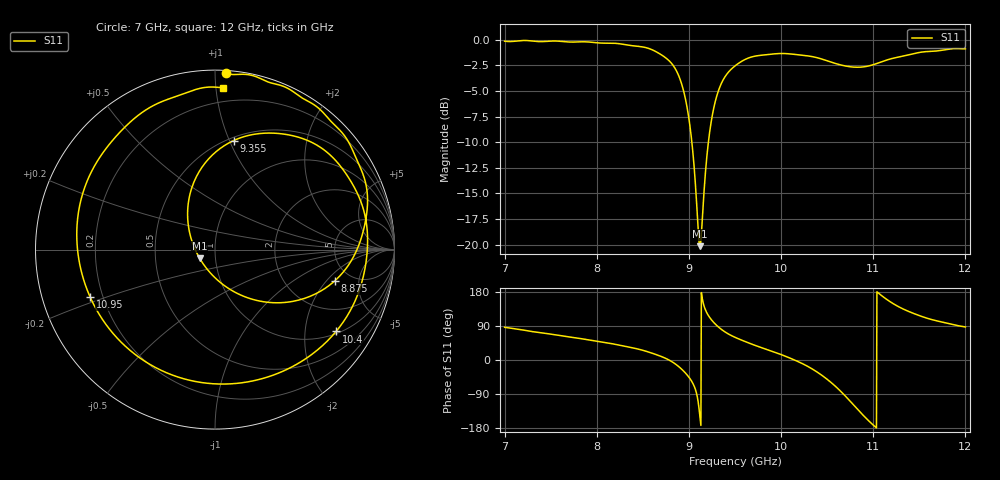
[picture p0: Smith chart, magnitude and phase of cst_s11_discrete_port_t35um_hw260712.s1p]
! TOUCHSTONE file generated by CST MICROWAVE STUDIO
! Date and time: Sun Jul 12 01:46:21 2026
! Project name: rfx-patch_discrete_port.cst
! Parameters = {Airgap=10; L=8.595; RO_L=30.595; RO_W=30.129; W=10.129; d=2.4; feed_w=1.8; g=0.9; h=0.787; patch_t=0.035}
! Header version: 2024
! Port assignment regex: !\s*Touchstone port\s*([0-9]+)\s*=\s*(CST MWS port|CST DES external port|CST DES block port)\s*(.+)\s* \(\"(.*)\"\)(\s*mode\s*([0-9]+))?.*
! Touchstone port assignment:
! Touchstone port 1 = CST MWS port 1 ("")
# GHz S MA R 50
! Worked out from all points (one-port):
!   1001 points, 7 GHz to 12 GHz, reference 50 ohm
!   lowest |S11| = -20.2 dB at 9.12 GHz (marker M1), VSWR 1.22, Z = 41.9 - j4.04 ohm
!   |S11| at or under -10 dB: 9.032 GHz to 9.211 GHz (179.3 MHz wide, 1.97 % of centre)
!   S11 on the Smith chart (normalised r, x): 7 GHz: 0.02, +1.07; 8.875 GHz: 3.73, -2.47; 9.355 GHz: 0.53, +1.04; 10.4 GHz: 1.07, -2.91; 10.95 GHz: 0.15, -0.18; 12 GHz: 0.11, +1.04
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7  0.9842 86.4
7.625  0.981 63.3
8.25  0.9557 38.9
8.64  0.8761 14.7
8.78  0.7938 0.5
8.875  0.6899 -14.6
9.005  0.3973 -47.0
9.05  0.26 -65.3
9.1  0.1194 -110.2
9.12  0.09824 -150.9
9.14  0.1215 169.6
9.175  0.2128 135.0
9.23  0.3675 110.6
9.355  0.6164 80.3
9.5  0.7454 59.9
9.78  0.8398 33.2
10.125  0.8506 2.1
10.28  0.8353 -15.6
10.405  0.8143 -34.1
10.6  0.7636 -71.7
10.75  0.7382 -108.9
10.855  0.7347 -136.7
10.945  0.7441 -159.1
11.12  0.789 164.5
11.24  0.8171 145.3
11.375  0.8416 129.1
11.605  0.8769 108.7
12  0.9028 87.2
